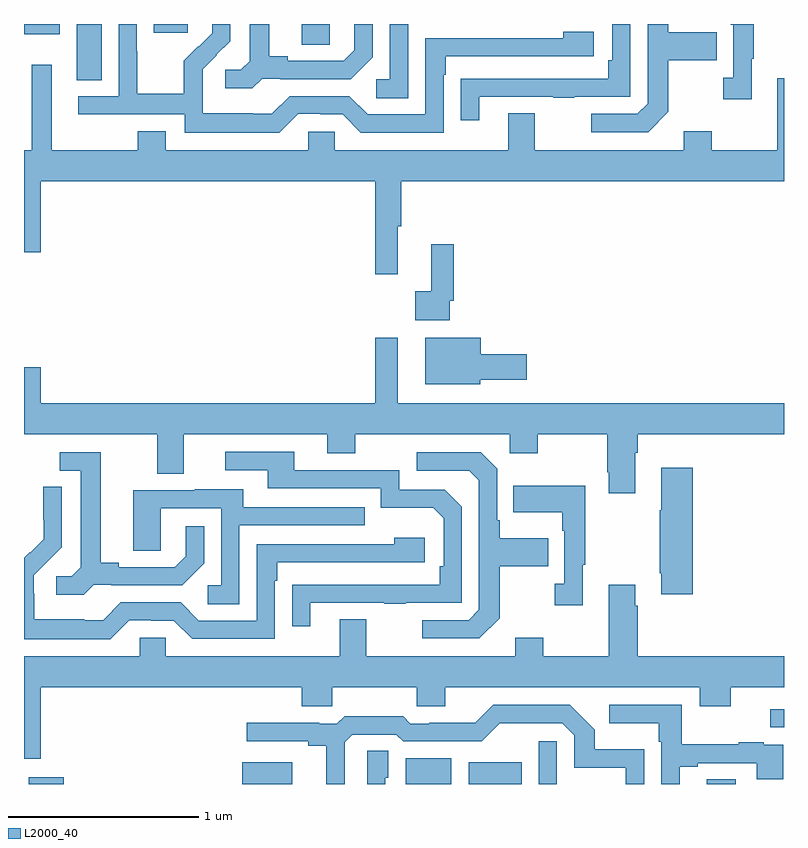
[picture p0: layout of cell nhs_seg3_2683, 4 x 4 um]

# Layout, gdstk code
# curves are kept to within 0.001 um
import gdstk
lib = gdstk.Library(unit=1e-6, precision=1e-09)
def R(c, l, rs):  # rectangles x0, y0, x1, y1
    for r in rs: c.add(gdstk.rectangle(r[:2], r[2:], *l))
def P(c, l, *ps):  # polygons
    for p in ps: c.add(gdstk.Polygon(p, *l))
L2000_40 = (2000, 40)

nhs_seg3_2683 = lib.new_cell('nhs_seg3_2683')
R(nhs_seg3_2683, L2000_40, [(249.026,708.4,249.209,708.436), (250.148,708.4,250.411,708.514), (251.009,708.4,251.248,708.535), (251.342,708.4,251.62,708.514), (251.709,708.4,251.805,708.625), (252.593,708.4,252.745,708.425), (252.927,708.699,253,708.793), (249.278,712.105,249.409,712.4), (250.463,712.291,250.608,712.4), (249,712.346,249.187,712.4), (249.683,712.353,249.862,712.4)])
P(nhs_seg3_2683, L2000_40, [(251.022,712.4),(250.926,712.4),(250.926,712.11),(250.854,712.11),(250.854,712.009),(251.022,712.009)],
  [(252.391,711.937),(252.391,712.21),(252.647,712.21),(252.647,712.357),(252.391,712.357),(252.391,712.4),(252.282,712.4),(252.282,711.981),(252.228,711.927),(251.985,711.927),(251.985,711.831),(252.285,711.831)],
  [(250.254,712.113),(250.348,712.113),(250.348,712.11),(250.72,712.11),(250.836,712.226),(250.836,712.4),(250.739,712.4),(250.739,712.263),(250.682,712.206),(250.387,712.206),(250.387,712.229),(250.291,712.229),(250.291,712.4),(250.187,712.4),(250.187,712.205),(250.14,712.158),(250.059,712.158),(250.059,712.061),(250.202,712.061)],
  [(251.395,712.017),(251.785,712.017),(251.785,712.012),(251.897,712.012),(251.897,712.017),(252.192,712.017),(252.192,712.4),(252.096,712.4),(252.096,712.21),(252.076,712.21),(252.076,712.113),(251.401,712.113),(251.401,712.112),(251.299,712.112),(251.299,711.894),(251.395,711.894)],
  [(252.829,712.217),(252.841,712.217),(252.841,712.4),(252.72,712.4),(252.72,712.397),(252.732,712.397),(252.732,712.118),(252.681,712.118),(252.681,712.005),(252.829,712.005)],
  [(250.443,711.927),(250.559,711.927),(250.559,711.924),(250.677,711.924),(250.773,711.828),(251.208,711.828),(251.208,712.133),(251.221,712.133),(251.221,712.23),(251.998,712.23),(251.998,712.36),(251.837,712.36),(251.837,712.326),(251.112,712.326),(251.112,711.924),(250.809,711.924),(250.713,712.02),(250.398,712.02),(250.305,711.927),(250.205,711.927),(250.205,711.931),(249.942,711.931),(249.942,712.065),(249.94,712.065),(249.94,712.162),(250.086,712.31),(250.086,712.4),(249.992,712.4),(249.992,712.352),(249.921,712.281),(249.918,712.284),(249.841,712.207),(249.841,712.033),(249.597,712.033),(249.597,712.256),(249.594,712.256),(249.594,712.4),(249.498,712.4),(249.498,712.02),(249.285,712.02),(249.285,711.924),(249.846,711.924),(249.846,711.827),(250.343,711.827)],
  [(250.967,711.336),(250.985,711.336),(250.985,711.572),(253,711.572),(253,712.114),(252.965,712.114),(252.965,711.736),(252.621,711.736),(252.621,711.835),(252.473,711.835),(252.473,711.736),(251.689,711.736),(251.689,711.931),(251.549,711.931),(251.549,711.736),(250.635,711.736),(250.635,711.834),(250.497,711.834),(250.497,711.736),(249.745,711.736),(249.745,711.835),(249.598,711.835),(249.598,711.736),(249.145,711.736),(249.145,712.186),(249.041,712.186),(249.041,711.736),(249,711.736),(249,711.198),(249.088,711.198),(249.088,711.572),(250.849,711.572),(250.849,711.084),(250.967,711.084)],
  [(251.241,710.944),(251.261,710.944),(251.261,711.241),(251.144,711.241),(251.144,710.993),(251.058,710.993),(251.058,710.84),(251.241,710.84)],
  [(251.4,710.528),(251.647,710.528),(251.647,710.663),(251.404,710.663),(251.404,710.749),(251.111,710.749),(251.111,710.504),(251.4,710.504)],
  [(250.966,710.749),(250.849,710.749),(250.849,710.404),(249.088,710.404),(249.088,710.593),(249,710.593),(249,710.24),(249.701,710.24),(249.701,710.032),(249.841,710.032),(249.841,710.24),(250.595,710.24),(250.595,710.141),(250.743,710.141),(250.743,710.24),(251.556,710.24),(251.556,710.141),(251.703,710.141),(251.703,710.24),(252.07,710.24),(252.07,710.041),(252.077,710.041),(252.077,709.929),(252.217,709.929),(252.217,710.144),(252.23,710.144),(252.23,710.24),(253,710.24),(253,710.404),(250.966,710.404)],
  [(250.507,709.353),(250.897,709.353),(250.897,709.348),(251.009,709.348),(251.009,709.353),(251.304,709.353),(251.304,709.86),(251.214,709.95),(250.974,709.95),(250.974,710.052),(250.423,710.052),(250.423,710.148),(250.059,710.148),(250.059,710.052),(250.283,710.052),(250.283,709.956),(250.878,709.956),(250.878,709.853),(251.155,709.853),(251.208,709.8),(251.208,709.546),(251.188,709.546),(251.188,709.449),(250.411,709.448),(250.411,709.23),(250.507,709.23)],
  [(251.503,709.273),(251.503,709.546),(251.759,709.546),(251.759,709.693),(251.503,709.693),(251.503,709.789),(251.49,709.789),(251.49,710.058),(251.403,710.145),(251.067,710.145),(251.067,710.049),(251.343,710.049),(251.394,709.998),(251.394,709.317),(251.34,709.263),(251.097,709.263),(251.097,709.167),(251.397,709.167)],
  [(249.366,709.449),(249.46,709.449),(249.46,709.446),(249.832,709.446),(249.948,709.562),(249.948,709.756),(249.851,709.756),(249.851,709.599),(249.794,709.542),(249.499,709.542),(249.499,709.565),(249.403,709.565),(249.403,710.145),(249.189,710.145),(249.189,710.049),(249.299,710.049),(249.299,709.541),(249.252,709.494),(249.171,709.494),(249.171,709.397),(249.314,709.397)],
  [(252.521,710.065),(252.353,710.065),(252.353,709.841),(252.346,709.841),(252.346,709.51),(252.353,709.51),(252.353,709.398),(252.521,709.398)],
  [(251.941,709.553),(251.953,709.553),(251.953,709.969),(251.575,709.969),(251.575,709.829),(251.832,709.829),(251.832,709.733),(251.844,709.733),(251.844,709.454),(251.793,709.454),(251.793,709.341),(251.941,709.341)],
  [(249.555,709.263),(249.671,709.263),(249.671,709.26),(249.789,709.26),(249.885,709.164),(250.32,709.164),(250.32,709.469),(250.333,709.469),(250.333,709.566),(251.11,709.566),(251.11,709.696),(250.949,709.696),(250.949,709.662),(250.224,709.662),(250.224,709.26),(249.921,709.26),(249.825,709.356),(249.51,709.356),(249.417,709.263),(249.317,709.263),(249.317,709.267),(249.054,709.267),(249.054,709.401),(249.052,709.401),(249.052,709.498),(249.198,709.646),(249.198,709.964),(249.102,709.964),(249.102,709.792),(249.104,709.792),(249.104,709.688),(249.033,709.617),(249.03,709.62),(249,709.59),(249,709.163),(249.455,709.163)],
  [(250.134,709.761),(250.793,709.761),(250.793,709.857),(250.153,709.857),(250.153,709.951),(249.899,709.951),(249.899,709.947),(249.575,709.947),(249.575,709.627),(249.72,709.627),(249.72,709.851),(250.038,709.851),(250.038,709.446),(249.966,709.446),(249.966,709.345),(250.134,709.345)],
  [(249.088,708.908),(250.463,708.908),(250.463,708.81),(250.623,708.81),(250.623,708.908),(251.068,708.908),(251.068,708.81),(251.218,708.81),(251.218,708.908),(252.557,708.908),(252.557,708.809),(252.721,708.809),(252.721,708.908),(253,708.908),(253,709.072),(252.23,709.072),(252.23,709.337),(252.217,709.337),(252.217,709.45),(252.077,709.45),(252.077,709.072),(251.733,709.072),(251.733,709.171),(251.585,709.171),(251.585,709.072),(250.801,709.072),(250.801,709.267),(250.661,709.267),(250.661,709.072),(249.747,709.072),(249.747,709.17),(249.609,709.17),(249.609,709.072),(249,709.072),(249,708.534),(249.088,708.534)],
  [(252.451,708.492),(252.547,708.492),(252.547,708.51),(252.857,708.51),(252.857,708.426),(252.997,708.426),(252.997,708.606),(252.893,708.606),(252.893,708.619),(252.761,708.619),(252.761,708.608),(252.463,708.608),(252.463,708.816),(252.081,708.816),(252.081,708.719),(252.342,708.719),(252.342,708.623),(252.354,708.623),(252.354,708.4),(252.451,708.4)],
  [(250.689,708.621),(250.728,708.66),(250.959,708.66),(250.995,708.624),(251.409,708.624),(251.504,708.719),(251.832,708.72),(251.895,708.657),(251.895,708.486),(252.168,708.486),(252.168,708.4),(252.264,708.4),(252.264,708.583),(252.003,708.583),(252.003,708.686),(251.872,708.816),(251.469,708.816),(251.375,708.722),(251.134,708.722),(251.134,708.717),(251.034,708.717),(250.995,708.757),(250.687,708.757),(250.647,708.717),(250.553,708.717),(250.553,708.722),(250.173,708.722),(250.173,708.624),(250.496,708.624),(250.496,708.602),(250.592,708.602),(250.592,708.4),(250.689,708.4)],
  [(250.902,708.432),(250.918,708.432),(250.918,708.575),(250.806,708.575),(250.806,708.4),(250.902,708.4)])

lib.write_gds('nhs_seg3_2683.gds')
